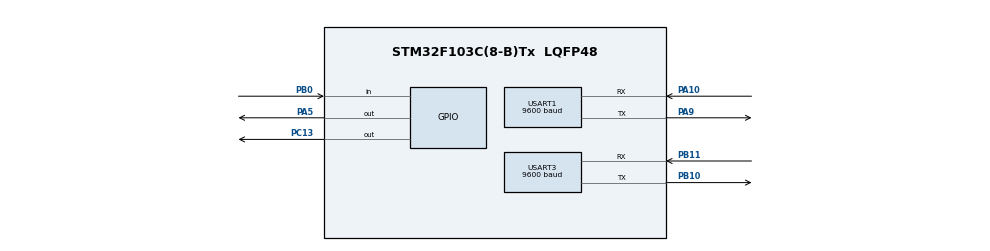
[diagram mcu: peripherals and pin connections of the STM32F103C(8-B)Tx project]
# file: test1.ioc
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Mcu.Family=STM32F1
Mcu.Name=STM32F103C(8-B)Tx
Mcu.Package=LQFP48
NVIC.PriorityGroup=NVIC_PRIORITYGROUP_4
NVIC.TIM2_IRQn=true\:0\:0\:false\:false\:true\:true\:true\:true
NVIC.TIM3_IRQn=true\:0\:0\:false\:false\:true\:true\:true\:true
NVIC.USART1_IRQn=true\:0\:0\:false\:false\:true\:true\:true\:true
NVIC.USART3_IRQn=true\:0\:0\:false\:false\:true\:true\:true\:true
PA10.Mode=Asynchronous
PA10.Signal=USART1_RX
PA13.Mode=Serial_Wire
PA13.Signal=SYS_JTMS-SWDIO
PA14.Mode=Serial_Wire
PA14.Signal=SYS_JTCK-SWCLK
PA5.Signal=GPIO_Output
PA9.Mode=Asynchronous
PA9.Signal=USART1_TX
PB0.GPIO_PuPd=GPIO_PULLUP
PB0.Signal=GPIO_Input
PB10.Mode=Asynchronous
PB10.Signal=USART3_TX
PB11.Mode=Asynchronous
PB11.Signal=USART3_RX
PC13-TAMPER-RTC.PinState=GPIO_PIN_SET
PC13-TAMPER-RTC.Signal=GPIO_Output
ProjectManager.HeapSize=0x200
ProjectManager.StackSize=0x400
ProjectManager.TargetToolchain=STM32CubeIDE
RCC.APB1Freq_Value=8000000
RCC.APB2Freq_Value=8000000
TIM2.Period=3
TIM2.Prescaler=7999
TIM3.AutoReloadPreload=TIM_AUTORELOAD_PRELOAD_ENABLE
TIM3.Period=999
TIM3.Prescaler=7999
USART1.BaudRate=9600
USART1.VirtualMode=VM_ASYNC
USART3.BaudRate=9600
USART3.VirtualMode=VM_ASYNC
VP_TIM2_VS_ClockSourceINT.Mode=Internal
VP_TIM3_VS_ClockSourceINT.Mode=Internal
board=custom

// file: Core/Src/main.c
/* USER CODE BEGIN Header */
/**
 ******************************************************************************
 * @file           : main.c
 * @brief          : Main program body
 ******************************************************************************
 * @attention
 *
 * Copyright (c) 2026 STMicroelectronics.
 * All rights reserved.
 *
 * This software is licensed under terms that can be found in the LICENSE file
 * in the root directory of this software component.
 * If no LICENSE file comes with this software, it is provided AS-IS.
 *
 ******************************************************************************
 */
/* USER CODE END Header */
#include "main.h"

TIM_HandleTypeDef htim2;
TIM_HandleTypeDef htim3;

UART_HandleTypeDef huart1;
UART_HandleTypeDef huart3;

/* USER CODE BEGIN PV */
#define HOLDING_REG_SIZE 64

typedef enum CHARGER_STATE
{
  STATE_IDLE = 0, // 대기
  STATE_CHARGING, // 충전중
  STATE_COMPLETE, // 충전 완료
  STATE_FAULT     // 에러 상태
} CHARGER_STATE;

typedef enum FAULT_CODE
{
  FAULT_NONE = 0,    // 정상
  FAULT_OVERVOLT,    // 과전압
  FAULT_OVERCURRENT, // 과전류
  FAULT_OVERTEMP,    // 과온
  FAULT_RELAY,       // 릴레이 이상
  FAULT_COMM,        // 통신 이상
  FAULT_EMERGENCY    // 비상정지
} FAULT_CODE;

typedef enum CMD_STAT
{
  START = 0,
  STOP = 1
} CMD_STAT;

uint8_t modbus_buf[256];
uint8_t u8_rx;
uint16_t holding_reg_cmd[HOLDING_REG_SIZE];
uint16_t tmptmp = 0;

// 임의 값
 uint16_t voltage = 400;
 uint16_t current = 150;

// 대모용 120배
//uint16_t voltage = 400 * 120;
//uint16_t current = 150 * 120;

uint32_t Battery_current = 14400; // (Wh);
uint32_t Battery_full = 72000;    // (Wh);

volatile uint8_t HR_value_update_flag = 0;

uint16_t holding_reg_read_stat[HOLDING_REG_SIZE];
/*
0x0000	Charger State
0x0001	Fault Code
0x0010	Energy (Low) w/h
0x0011	Energy (High) w/h
0x0012	SOC // Battery_current / Battery_full
*/

static uint32_t prev_time = 0;

volatile uint16_t st_len = 0;
volatile uint8_t frame_done = 0;

char slave_id = 0x01;
// 싱글 레지스터 쓰기
char func_code_start = 0x06;
// 홀딩 레지스터 읽기
char func_code_read = 0x03;

/* USER CODE END PV */

void SystemClock_Config(void);
static void MX_GPIO_Init(void);
static void MX_USART1_UART_Init(void);
static void MX_TIM2_Init(void);
static void MX_TIM3_Init(void);
static void MX_USART3_UART_Init(void);

int main(void)
{

  /* MCU Configuration--------------------------------------------------------*/

  /* Reset of all peripherals, Initializes the Flash interface and the Systick. */
  HAL_Init();

  /* Configure the system clock */
  SystemClock_Config();

  /* Initialize all configured peripherals */
  MX_GPIO_Init();
  MX_USART1_UART_Init();
  MX_TIM2_Init();
  MX_TIM3_Init();
  MX_USART3_UART_Init();

  /* Infinite loop */
  /* USER CODE BEGIN WHILE */
  //  char send_data[20] = "Hello World\r\n";

  /*
  HAL_UART_Receive_IT()는
  지정한 Size만큼 데이터를 다 받았을 때
  HAL_UART_RxCpltCallback()를 딱 한 번 호출한다.
   */
  HAL_UART_Receive_IT(&huart1, &u8_rx, 1);
  HR_value_init();

  //  타이머 시작 설정
  //  HAL_TIM_Base_Start_IT(&htim2);
  uint8_t ems_state = 0;

  while (1)
  {
	uint8_t ret_ems = HAL_GPIO_ReadPin(GPIOB, GPIO_PIN_0);
	if(ret_ems == 1 && ems_state == 0)
	{
	  ems_state = 1;
	  char test[10] = "ems";
	  HAL_UART_Transmit(&huart3, test, 10, 100);

	  HAL_TIM_Base_Stop_IT(&htim3);
      // read reg값 처음으로 초기화해줌
      // 데모용...
      HR_value_init();
	}
	else if(ret_ems == 0 && ems_state == 1)
	{
		ems_state = 0;
	}
    // HAL_GPIO_TogglePin(GPIOA, GPIO_PIN_5); // PA5 토글
    // HAL_GPIO_TogglePin(GPIOC, GPIO_PIN_13);
    // HAL_Delay(1000);
    if (frame_done)
    {
      modbus_pasing();
    }

    if (holding_reg_cmd[START] == 1)
    {
      // 타이머 시작
      // cmd 초기화
      holding_reg_cmd[START] = 0;
      __HAL_TIM_SET_COUNTER(&htim3, 0);
      HAL_TIM_Base_Start_IT(&htim3);
    }
    else if (holding_reg_cmd[STOP] == 1)
    {
      // 타이머 종료
      // cmd 초기화
      holding_reg_cmd[STOP] = 0;
      HAL_TIM_Base_Stop_IT(&htim3);

      // read reg값 처음으로 초기화해줌
      // 데모용...
      HR_value_init();
    }
    /* USER CODE END WHILE */

  }
}

void SystemClock_Config(void)
{
  RCC_OscInitTypeDef RCC_OscInitStruct = {0};
  RCC_ClkInitTypeDef RCC_ClkInitStruct = {0};

  /** Initializes the RCC Oscillators according to the specified parameters
  * in the RCC_OscInitTypeDef structure.
  */
  RCC_OscInitStruct.OscillatorType = RCC_OSCILLATORTYPE_HSI;
  RCC_OscInitStruct.HSIState = RCC_HSI_ON;
  RCC_OscInitStruct.HSICalibrationValue = RCC_HSICALIBRATION_DEFAULT;
  RCC_OscInitStruct.PLL.PLLState = RCC_PLL_NONE;
  if (HAL_RCC_OscConfig(&RCC_OscInitStruct) != HAL_OK)
  {
    Error_Handler();
  }

  /** Initializes the CPU, AHB and APB buses clocks
  */
  RCC_ClkInitStruct.ClockType = RCC_CLOCKTYPE_HCLK|RCC_CLOCKTYPE_SYSCLK
                              |RCC_CLOCKTYPE_PCLK1|RCC_CLOCKTYPE_PCLK2;
  RCC_ClkInitStruct.SYSCLKSource = RCC_SYSCLKSOURCE_HSI;
  RCC_ClkInitStruct.AHBCLKDivider = RCC_SYSCLK_DIV1;
  RCC_ClkInitStruct.APB1CLKDivider = RCC_HCLK_DIV1;
  RCC_ClkInitStruct.APB2CLKDivider = RCC_HCLK_DIV1;

  if (HAL_RCC_ClockConfig(&RCC_ClkInitStruct, FLASH_LATENCY_0) != HAL_OK)
  {
    Error_Handler();
  }
}

static void MX_TIM2_Init(void)
{

  TIM_ClockConfigTypeDef sClockSourceConfig = {0};
  TIM_MasterConfigTypeDef sMasterConfig = {0};

  htim2.Instance = TIM2;
  htim2.Init.Prescaler = 7999;
  htim2.Init.CounterMode = TIM_COUNTERMODE_UP;
  htim2.Init.Period = 3;
  htim2.Init.ClockDivision = TIM_CLOCKDIVISION_DIV1;
  htim2.Init.AutoReloadPreload = TIM_AUTORELOAD_PRELOAD_DISABLE;
  if (HAL_TIM_Base_Init(&htim2) != HAL_OK)
  {
    Error_Handler();
  }
  sClockSourceConfig.ClockSource = TIM_CLOCKSOURCE_INTERNAL;
  if (HAL_TIM_ConfigClockSource(&htim2, &sClockSourceConfig) != HAL_OK)
  {
    Error_Handler();
  }
  sMasterConfig.MasterOutputTrigger = TIM_TRGO_RESET;
  sMasterConfig.MasterSlaveMode = TIM_MASTERSLAVEMODE_DISABLE;
  if (HAL_TIMEx_MasterConfigSynchronization(&htim2, &sMasterConfig) != HAL_OK)
  {
    Error_Handler();
  }

}

static void MX_TIM3_Init(void)
{

  TIM_ClockConfigTypeDef sClockSourceConfig = {0};
  TIM_MasterConfigTypeDef sMasterConfig = {0};

  htim3.Instance = TIM3;
  htim3.Init.Prescaler = 7999;
  htim3.Init.CounterMode = TIM_COUNTERMODE_UP;
  htim3.Init.Period = 999;
  htim3.Init.ClockDivision = TIM_CLOCKDIVISION_DIV1;
  htim3.Init.AutoReloadPreload = TIM_AUTORELOAD_PRELOAD_ENABLE;
  if (HAL_TIM_Base_Init(&htim3) != HAL_OK)
  {
    Error_Handler();
  }
  sClockSourceConfig.ClockSource = TIM_CLOCKSOURCE_INTERNAL;
  if (HAL_TIM_ConfigClockSource(&htim3, &sClockSourceConfig) != HAL_OK)
  {
    Error_Handler();
  }
  sMasterConfig.MasterOutputTrigger = TIM_TRGO_RESET;
  sMasterConfig.MasterSlaveMode = TIM_MASTERSLAVEMODE_DISABLE;
  if (HAL_TIMEx_MasterConfigSynchronization(&htim3, &sMasterConfig) != HAL_OK)
  {
    Error_Handler();
  }

}

static void MX_USART1_UART_Init(void)
{

  huart1.Instance = USART1;
  huart1.Init.BaudRate = 9600;
  huart1.Init.WordLength = UART_WORDLENGTH_8B;
  huart1.Init.StopBits = UART_STOPBITS_1;
  huart1.Init.Parity = UART_PARITY_NONE;
  huart1.Init.Mode = UART_MODE_TX_RX;
  huart1.Init.HwFlowCtl = UART_HWCONTROL_NONE;
  huart1.Init.OverSampling = UART_OVERSAMPLING_16;
  if (HAL_UART_Init(&huart1) != HAL_OK)
  {
    Error_Handler();
  }

}

static void MX_USART3_UART_Init(void)
{

  huart3.Instance = USART3;
  huart3.Init.BaudRate = 9600;
  huart3.Init.WordLength = UART_WORDLENGTH_8B;
  huart3.Init.StopBits = UART_STOPBITS_1;
  huart3.Init.Parity = UART_PARITY_NONE;
  huart3.Init.Mode = UART_MODE_TX_RX;
  huart3.Init.HwFlowCtl = UART_HWCONTROL_NONE;
  huart3.Init.OverSampling = UART_OVERSAMPLING_16;
  if (HAL_UART_Init(&huart3) != HAL_OK)
  {
    Error_Handler();
  }

}

static void MX_GPIO_Init(void)
{
  GPIO_InitTypeDef GPIO_InitStruct = {0};

  /* GPIO Ports Clock Enable */
  __HAL_RCC_GPIOC_CLK_ENABLE();
  __HAL_RCC_GPIOA_CLK_ENABLE();
  __HAL_RCC_GPIOB_CLK_ENABLE();

  /*Configure GPIO pin Output Level */
  HAL_GPIO_WritePin(GPIOC, GPIO_PIN_13, GPIO_PIN_SET);

  /*Configure GPIO pin Output Level */
  HAL_GPIO_WritePin(GPIOA, GPIO_PIN_5, GPIO_PIN_RESET);

  /*Configure GPIO pin : PC13 */
  GPIO_InitStruct.Pin = GPIO_PIN_13;
  GPIO_InitStruct.Mode = GPIO_MODE_OUTPUT_PP;
  GPIO_InitStruct.Pull = GPIO_NOPULL;
  GPIO_InitStruct.Speed = GPIO_SPEED_FREQ_LOW;
  HAL_GPIO_Init(GPIOC, &GPIO_InitStruct);

  /*Configure GPIO pin : PA5 */
  GPIO_InitStruct.Pin = GPIO_PIN_5;
  GPIO_InitStruct.Mode = GPIO_MODE_OUTPUT_PP;
  GPIO_InitStruct.Pull = GPIO_NOPULL;
  GPIO_InitStruct.Speed = GPIO_SPEED_FREQ_LOW;
  HAL_GPIO_Init(GPIOA, &GPIO_InitStruct);

  /*Configure GPIO pin : PB0 */
  GPIO_InitStruct.Pin = GPIO_PIN_0;
  GPIO_InitStruct.Mode = GPIO_MODE_INPUT;
  GPIO_InitStruct.Pull = GPIO_PULLUP;
  HAL_GPIO_Init(GPIOB, &GPIO_InitStruct);

}

/* USER CODE BEGIN 4 */
void HAL_UART_RxCpltCallback(UART_HandleTypeDef *huart)
{
  if (huart->Instance == USART1)
  {
    // 1바이트 수신됨 (u8_rx)
    modbus_buf[st_len++] = u8_rx;

    // 타이머값 초기화
    __HAL_TIM_SET_COUNTER(&htim2, 0);
    // 타이머 재시작
    HAL_TIM_Base_Start_IT(&htim2);

    // 다시 인터럽트 대기
    HAL_UART_Receive_IT(&huart1, &u8_rx, 1);
  }
}

// 타이머 타임아웃 시 호출댐
void HAL_TIM_PeriodElapsedCallback(TIM_HandleTypeDef *htim)
{
  if (htim->Instance == TIM2)
  {
    // 타이머 종료 함수
    HAL_TIM_Base_Stop_IT(&htim2);
    // main에서 버퍼 확인하고 응답보냄
    frame_done = 1;
  }
  else if (htim->Instance == TIM3)
  {
    HAL_GPIO_TogglePin(GPIOC, GPIO_PIN_13);
    HR_value_update();
    // HR_value_update_flag = 1;
  }
  //	  HAL_TIM_Base_Start_IT(&htim2);
}

void HR_value_init()
{
  holding_reg_read_stat[0] = STATE_IDLE;
  holding_reg_read_stat[1] = FAULT_NONE;

  holding_reg_read_stat[2] = voltage;
  holding_reg_read_stat[3] = current;

  // 초기화
  Battery_current = 14400; // (Wh);
  Battery_full = 72000;    // (Wh);

  holding_reg_read_stat[4] = (Battery_current >> 16) & 0xFFFF;
  holding_reg_read_stat[5] = (Battery_current) & 0xFFFF;
  holding_reg_read_stat[6] = (Battery_full >> 16) & 0xFFFF;
  holding_reg_read_stat[7] = (Battery_full) & 0xFFFF;

  return;
}

void HR_value_update()
{
  holding_reg_read_stat[0] = STATE_CHARGING;
  holding_reg_read_stat[1] = FAULT_NONE;

  Battery_current += ((uint32_t)(voltage * current) / 3600);

  // holding_reg_read_stat[12] = (Battery_current / Battery_full);
  holding_reg_read_stat[4] = (Battery_current >> 16) & 0xFFFF;
  holding_reg_read_stat[5] = (Battery_current) & 0xFFFF;
  return;
}

void modbus_pasing()
{
  frame_done = 0;

  uint8_t tmp_buf[256];
  uint16_t tmp_len = 0;

  __disable_irq();
  tmp_len = st_len;
  if (tmp_len > sizeof(tmp_buf))
  {
    tmp_len = sizeof(tmp_buf);
  }
  for (int i = 0; i < tmp_len; i++)
  {
    tmp_buf[i] = modbus_buf[i];
  }
  __enable_irq();

  // 여기서 Modbus 파싱
  if (tmp_len < 4)
  {
    return;
  }

  if (slave_id != tmp_buf[0])
  {
    return;
  }

  if (func_code_start == tmp_buf[1])
  {
    if (tmp_len != 8)
    {
      return;
    }

    uint8_t crc_L = tmp_buf[tmp_len - 2];
    uint8_t crc_H = tmp_buf[tmp_len - 1];
    uint16_t crc_recv = ((uint16_t)crc_H << 8) | (uint16_t)crc_L;

    uint16_t crc_compare = crc_modbus(tmp_buf, tmp_len - 2);
    if (crc_recv != crc_compare)
    {
      return;
    }

    uint16_t reg_addr = ((uint16_t)tmp_buf[2] << 8) | (uint16_t)tmp_buf[3];
    uint16_t reg_val = ((uint16_t)tmp_buf[4] << 8) | (uint16_t)tmp_buf[5];
    // 값 넣어줌
    holding_reg_cmd[reg_addr] = reg_val;

    uint8_t modbus_ack[8];
    for (int i = 0; i < 6; i++)
    {
      modbus_ack[i] = tmp_buf[i];
    }
    uint16_t crc_ack = crc_modbus(modbus_ack, 6);
    modbus_ack[6] = (uint8_t)(crc_ack & 0xFF);
    modbus_ack[7] = (uint8_t)((crc_ack >> 8) & 0xFF);

    // HAL_UART_Transmit(&huart1, modbus_ack, 8, 100);
    HAL_StatusTypeDef e_ret = HAL_UART_Transmit(&huart1, modbus_ack, 8, 100);

    if (e_ret != HAL_OK)
    {
      // 디버깅용: 에러코드 확인
      uint32_t u32_err = HAL_UART_GetError(&huart1);
      // HAL_GPIO_TogglePin(GPIOC, GPIO_PIN_13);

      // 여기서 브레이크 걸거나 LED 토글/로그 찍어서 확인
      // u32_err는 HAL_UART_ERROR_* 비트로 들어옴
    }
    else
    {
      HAL_GPIO_TogglePin(GPIOC, GPIO_PIN_13);
    }
  }
  else if (func_code_read == tmp_buf[1])
  {
    if (tmp_len != 8)
    {
      return;
    }

    uint8_t crc_L = tmp_buf[tmp_len - 2];
    uint8_t crc_H = tmp_buf[tmp_len - 1];
    uint16_t crc_recv = ((uint16_t)crc_H << 8) | (uint16_t)crc_L;

    uint16_t crc_compare = crc_modbus(tmp_buf, tmp_len - 2);
    if (crc_recv != crc_compare)
    {
      return;
    }
    uint16_t reg_addr = ((uint16_t)tmp_buf[2] << 8) | (uint16_t)tmp_buf[3];
    uint16_t reg_cnt = ((uint16_t)tmp_buf[4] << 8) | (uint16_t)tmp_buf[5];

    uint8_t send_arr[5 + (reg_cnt * 2)];
    size_t send_arr_size = sizeof(send_arr) / sizeof(send_arr[0]);
    send_arr[0] = tmp_buf[0];  // 슬레이브 id
    send_arr[1] = tmp_buf[1];  // func code
    send_arr[2] = reg_cnt * 2; // 데이터 길이

    for (int i = 0; i < reg_cnt; i++)
    {
      uint16_t val_16 = holding_reg_read_stat[reg_addr + i];
      uint8_t val_H = (val_16 >> 8) & 0xFF;
      uint8_t val_L = val_16 & 0xFF;

      send_arr[3 + (2 * i)] = val_H;     // Hi
      send_arr[3 + (2 * i) + 1] = val_L; // Lo
    }

    uint16_t crc_read = crc_modbus(send_arr, send_arr_size - 2);
    uint8_t crc_L_read = crc_read & 0xFF;
    uint8_t crc_H_read = ((uint16_t)crc_read >> 8) & 0xFF;

    send_arr[send_arr_size - 2] = crc_L_read;
    send_arr[send_arr_size - 1] = crc_H_read;

    HAL_UART_Transmit(&huart1, send_arr, send_arr_size, 100);
  }

  st_len = 0; // 다음 프레임 준비
}

/* USER CODE END 4 */

void Error_Handler(void)
{
  __disable_irq();
  while (1)
  {
  }
}
